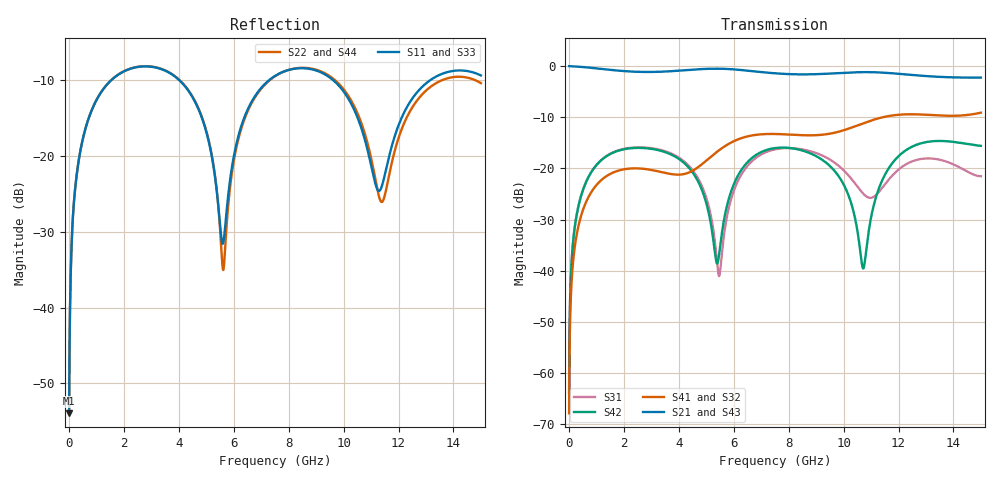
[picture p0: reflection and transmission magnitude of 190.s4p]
! Created with skrf 1.8.0 (http://scikit-rf.org).
# GHz S RI R 50.0
!freq ReS11 ImS11 ReS12 ImS12 ReS13 ImS13
! ReS14 ImS14
! ReS21 ImS21 ReS22 ImS22 ReS23 ImS23
! ReS24 ImS24
! ReS31 ImS31 ReS32 ImS32 ReS33 ImS33
! ReS34 ImS34
! ReS41 ImS41 ReS42 ImS42 ReS43 ImS43
! ReS44 ImS44
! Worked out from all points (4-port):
!   2499 points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, 5 MHz to 15 GHz, reference 50 ohm
!   strongest paths, dB at 5 MHz, 3.476 GHz, 7.19 GHz, 11.1 GHz, 15 GHz:
!     S21: 0.0, -1.1, -1.3, -1.2, -2.3
!     S43: 0.0, -1.1, -1.3, -1.2, -2.3
!     S41: -67.9, -20.8, -13.3, -10.5, -9.1
!     S32: -67.9, -20.9, -13.3, -10.5, -9.1
!     S42: -63.9, -16.8, -16.4, -27.2, -15.6
!     S31: -63.9, -16.6, -16.8, -25.5, -21.5
!   lowest |S11| = -53.9 dB at 5 MHz (marker M1), VSWR 1.00, Z = 50.2 + j0.122 ohm
!   |S11| at or under -10 dB: start of sweep to 1.53 GHz; 4.026 GHz to 7.276 GHz (3.25 GHz wide, 57.5 % of centre); 9.632 GHz to 13.14 GHz (3.511 GHz wide, 30.8 % of centre)
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0.005  0.0016 0.00121  0.9984 -0.00311  8.01e-05 0.000631  -7.78e-05 -0.000396
       0.9984 -0.00311  0.0016 0.00121  -7.78e-05 -0.000396  8e-05 0.000631
       8.01e-05 0.000631  -7.78e-05 -0.000396  0.0016 0.00121  0.9984 -0.00311
       -7.78e-05 -0.000396  8e-05 0.000631  0.9984 -0.00311  0.0016 0.00121
0.3626511  0.0288 0.0913  0.9602 -0.2229  0.0138 0.0428  -0.0113 -0.0264
           0.9602 -0.2229  0.0289 0.0913  -0.0113 -0.0264  0.0135 0.0428
           0.0138 0.0428  -0.0113 -0.0264  0.0288 0.0913  0.9602 -0.2229
           -0.0113 -0.0264  0.0135 0.0428  0.9602 -0.2229  0.0289 0.0913
1.619545  0.2748 0.1771  0.538 -0.7364  0.1318 0.0582  -0.0913 -0.00407
          0.538 -0.7364  0.276 0.1763  -0.0912 -0.00423  0.1288 0.0622
          0.1318 0.0582  -0.0912 -0.00423  0.2749 0.1771  0.538 -0.7364
          -0.0913 -0.00407  0.1288 0.0622  0.538 -0.7364  0.2759 0.1763
5.61484  0.0265 0.00365  -0.9386 -0.0659  -0.0037 0.0188  -0.00494 0.1606
         -0.9386 -0.0659  0.0177 -0.000629  -0.00788 0.1605  0.0176 0.0219
         -0.0037 0.0188  -0.00788 0.1605  0.0244 0.00373  -0.9387 -0.0657
         -0.00494 0.1606  0.0176 0.0219  -0.9387 -0.0657  0.0198 -0.000418
8.73489  0.3758 -0.0362  0.016 0.8305  0.1119 -0.098  0.2012 -0.0618
         0.016 0.8305  0.3794 -0.0341  0.2017 -0.0563  0.1144 -0.0845
         0.1119 -0.098  0.2017 -0.0563  0.3772 -0.0354  0.0162 0.8302
         0.2012 -0.0618  0.1144 -0.0845  0.0162 0.8302  0.3795 -0.0352
10.71697  0.0943 -0.1029  0.7753 0.4015  -0.0529 -0.0199  0.1176 -0.2499
          0.7753 0.4015  0.0937 -0.1194  0.126 -0.2459  -0.0104 0.00175
          -0.0529 -0.0199  0.126 -0.2459  0.0918 -0.1042  0.7753 0.4013
          0.1176 -0.2499  -0.0104 0.00175  0.7753 0.4013  0.0962 -0.1189
15  0.3322 -0.0774  -0.2186 -0.7391  -0.044 -0.0713  -0.3348 0.1035
    -0.2186 -0.7391  0.2998 -0.0481  -0.3388 0.0893  -0.0636 -0.1535
    -0.044 -0.0713  -0.3388 0.0893  0.3383 -0.0719  -0.218 -0.7374
    -0.3348 0.1035  -0.0636 -0.1535  -0.218 -0.7374  0.3035 -0.0551
